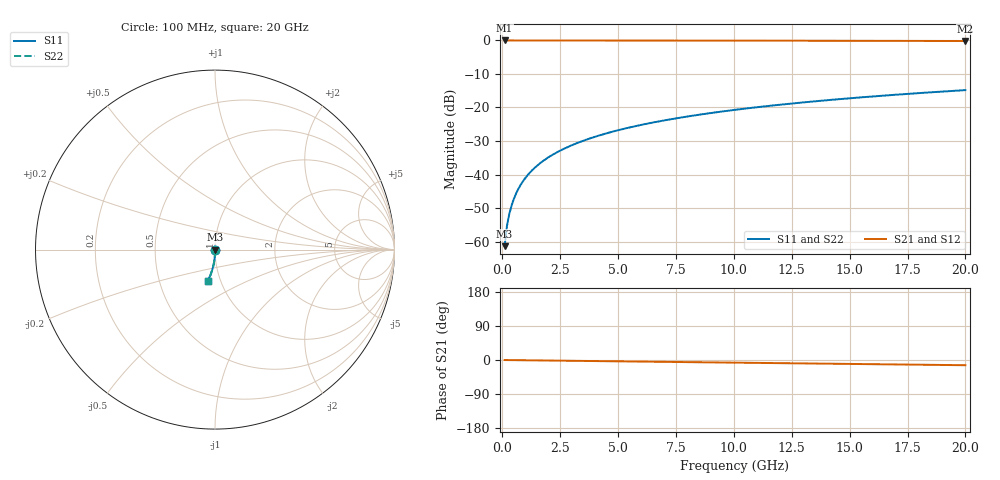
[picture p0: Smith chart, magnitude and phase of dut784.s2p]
! Touchstone file exported from HFSS 2026.1.0
!  File:  C:/ffzhzh/LocalFiles/Ansys_Project_Files/temp_train_TSV_784_1783183729_51560.aedt
!  Generated:  12:50:03 AM Jul  5, 2026
!  Design:  TSV
!  Project:  temp_train_TSV_784_1783183729_51560
! Variables:
!  h_bsmrdl = 2um
!  h_ox = 20um
!  h_rdl = 5um
!  h_sub = 98.05um
!  h_tmrdl = 5um
!  h_tsv = 98.05um
!  h_via = 3um
!  l_bsmrdl = 300um
!  l_sub = 422.76um
!  l_tmrdl = 200um
!  m_sub = 200um
!  pitch = 25.33um
!  r_tsv = 11.38um
!  s_tmrdl = 10um
!  w_bsmrdl = 18um
!  w_sub = 500um
!  w_tmrdl = 12um
!  x_tsv_center1 = 206um
!  x_tsv_center2 = 524um
!  x_tsv_center3 = 736um
!  x_tsv_center4 = 1054um
!  x_tsv_center5 = 1266um
!  x_tsv_center6 = 1584um
# GHz S MA R 50.000000
! Terminal data exported
! Port[1] = TSV1_1_T1
! Port[2] = TSV1_1_T2
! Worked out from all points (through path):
!   200 points, 100 MHz to 20 GHz, reference 50 ohm
!   highest |S21| = 0.00 dB at 100 MHz (marker M1); lowest = -0.2 dB at 20 GHz (marker M2)
!   group delay of S21, straight-line fit = 1.91 ps
!   lowest |S11| = -61.4 dB at 100 MHz (marker M3), VSWR 1.00, Z = 50 - j0.084 ohm
!   |S11| at or under -10 dB: start of sweep to end of sweep
!   |S22| runs from -61.4 to -14.8 dB; largest |S21 - S12| = 4e-15
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0.1  0.0008527 -79.9  0.9998 -0.1  0.9998 -0.1  0.0008527 -79.9
! Gamma 0 0 0 0
! Port Impedance 50 0 50 0
0.2  0.001698 -84.0  0.9998 -0.1  0.9998 -0.1  0.001698 -84.0
0.3  0.002561 -85.1  0.9998 -0.2  0.9998 -0.2  0.002561 -85.1
0.4  0.003442 -85.7  0.9997 -0.3  0.9997 -0.3  0.003442 -85.7
0.5  0.004337 -86.1  0.9997 -0.4  0.9997 -0.4  0.004337 -86.1
0.7  0.006153 -86.7  0.9996 -0.5  0.9996 -0.5  0.006153 -86.7
0.8  0.007069 -87.0  0.9995 -0.6  0.9995 -0.6  0.007069 -87.0
1  0.008908 -87.5  0.9995 -0.7  0.9995 -0.7  0.008908 -87.5
1.2  0.01075 -87.9  0.9994 -0.9  0.9994 -0.9  0.01075 -87.9
1.4  0.01259 -88.3  0.9993 -1.0  0.9993 -1.0  0.01259 -88.3
1.7  0.01535 -88.8  0.9992 -1.2  0.9992 -1.2  0.01535 -88.8
2  0.01811 -89.3  0.9991 -1.4  0.9991 -1.4  0.01811 -89.3
2.7  0.02455 -90.1  0.9989 -1.9  0.9989 -1.9  0.02455 -90.1
3.5  0.03192 -90.9  0.9986 -2.5  0.9986 -2.5  0.03192 -90.9
4.2  0.03837 -91.5  0.9983 -3.0  0.9983 -3.0  0.03837 -91.5
5  0.04575 -92.2  0.9979 -3.5  0.9979 -3.5  0.04575 -92.2
6.8  0.06236 -93.6  0.9968 -4.8  0.9968 -4.8  0.06236 -93.6
8.3  0.07617 -94.7  0.9957 -5.8  0.9957 -5.8  0.07617 -94.7
10.1  0.09269 -96.1  0.9941 -7.0  0.9941 -7.0  0.09269 -96.1
13.4  0.1227 -98.4  0.9906 -9.3  0.9906 -9.3  0.1227 -98.4
16.7  0.1524 -100.8  0.9862 -11.6  0.9862 -11.6  0.1524 -100.8
20  0.1816 -103.1  0.981 -13.8  0.981 -13.8  0.1816 -103.1
